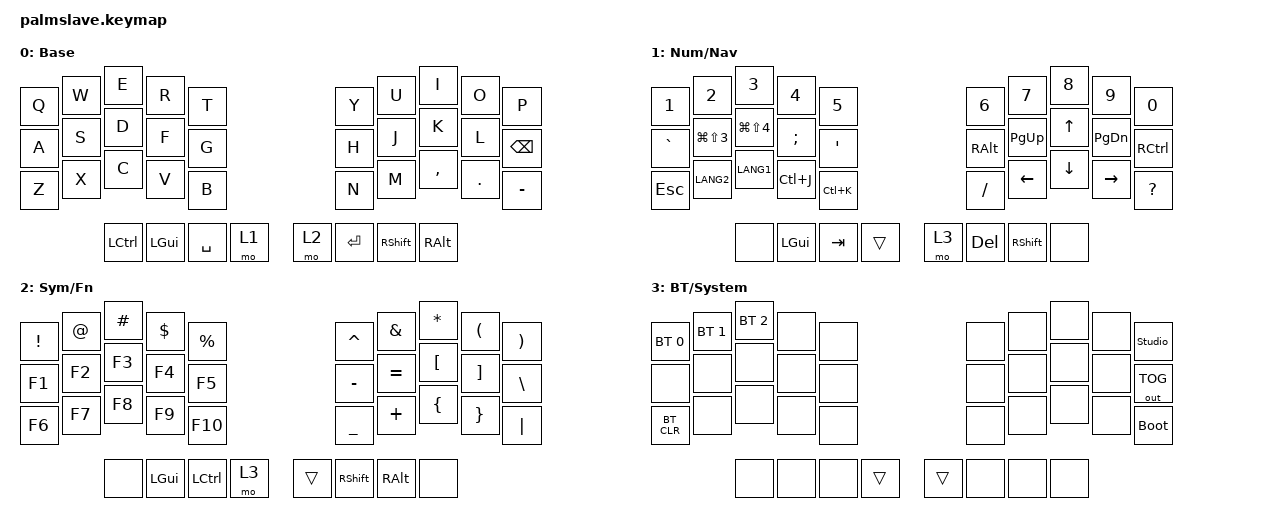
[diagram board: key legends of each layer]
#include <behaviors.dtsi>
#include <dt-bindings/zmk/keys.h>
#include <dt-bindings/zmk/bt.h>
#include <dt-bindings/zmk/outputs.h>

/*
 * Cheapino2(Vial) -> Palmslave(ZMK) 移植
 *
 * 並び順（1レイヤー38キー）:
 *   1行目: 左5キー | 右5キー
 *   2行目: 左5キー | 右5キー
 *   3行目: 左5キー | 右5キー
 *   4行目(親指): 左4キー(外→内) | 右4キー(内→外)
 *
 * Vialのマクロ M5〜M8 は単純なキーの同時押しなので、マクロを使わず &kp で表現:
 *   M5 = Ctrl+J / M6 = Ctrl+K / M7 = Cmd+Shift+3 / M8 = Cmd+Shift+4
 *
 * Layer 3 は Bluetooth/システム用（Vialの旧Layer 3=LED制御の代わり）。
 * Layer 1 の右内側親指 / Layer 2 の左内側親指 の &mo 3 で入る（旧MO(3)と同じ位置）。
 */

/ {
	keymap {
		compatible = "zmk,keymap";

		layer_0 {
			display-name = "Base";
			bindings = <
	&kp Q &kp W &kp E     &kp R   &kp T      &kp Y &kp U &kp I     &kp O   &kp P
	&kp A &kp S &kp D     &kp F   &kp G      &kp H &kp J &kp K     &kp L   &kp BSPC
	&kp Z &kp X &kp C     &kp V   &kp B      &kp N &kp M &kp COMMA &kp DOT &kp MINUS
	      &kp LCTRL &kp LGUI &kp SPACE &mo 1   &mo 2 &kp RET &kp RSHFT &kp RALT
			>;
		};

		layer_1 {
			display-name = "Num/Nav";
			bindings = <
	&kp N1    &kp N2          &kp N3          &kp N4   &kp N5      &kp N6    &kp N7    &kp N8  &kp N9    &kp N0
	&kp GRAVE &kp LG(LS(N3))  &kp LG(LS(N4))  &kp SEMI &kp SQT     &kp RALT  &kp PG_UP &kp UP  &kp PG_DN &kp RCTRL
	&kp ESC   &kp LANG2       &kp LANG1       &kp LC(J) &kp LC(K)  &kp FSLH  &kp LEFT  &kp DOWN &kp RIGHT &kp QMARK
	          &none &kp LGUI &kp TAB &trans    &mo 3 &kp DEL &kp RSHFT &none
			>;
		};

		layer_2 {
			display-name = "Sym/Fn";
			bindings = <
	&kp EXCL &kp AT &kp HASH &kp DLLR &kp PRCNT    &kp CARET &kp AMPS &kp STAR &kp LPAR &kp RPAR
	&kp F1   &kp F2 &kp F3   &kp F4   &kp F5       &kp MINUS &kp EQUAL &kp LBKT &kp RBKT &kp BSLH
	&kp F6   &kp F7 &kp F8   &kp F9   &kp F10      &kp UNDER &kp PLUS  &kp LBRC &kp RBRC &kp PIPE
	         &none &kp LGUI &kp LCTRL &mo 3        &trans &kp RSHFT &kp RALT &none
			>;
		};

		layer_3 {
			display-name = "BT/System";
			bindings = <
	&bt BT_SEL 0 &bt BT_SEL 1 &bt BT_SEL 2 &none &none      &none &none &none &none &studio_unlock
	&none        &none        &none        &none &none      &none &none &none &none &out OUT_TOG
	&bt BT_CLR   &none        &none        &none &none      &none &none &none &none &bootloader
	             &none &none &none &trans                   &trans &none &none &none
			>;
		};
	};
};
